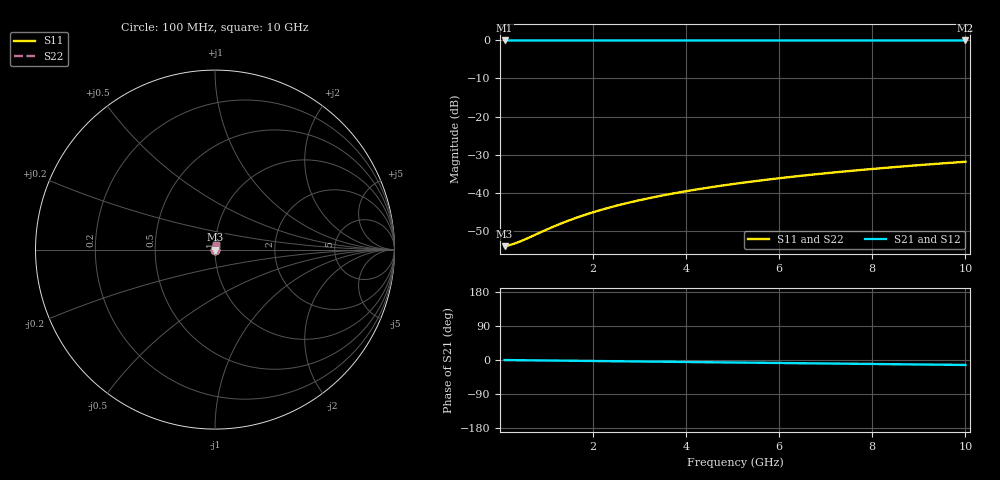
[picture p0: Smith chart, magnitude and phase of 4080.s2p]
# Hz S RI R 50.00
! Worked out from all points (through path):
!   100 points, 100 MHz to 10 GHz, reference 50 ohm
!   highest |S21| = -0.02 dB at 100 MHz (marker M1); lowest = 0.0 dB at 10 GHz (marker M2)
!   group delay of S21, straight-line fit = 3.64 ps
!   lowest |S11| = -54.1 dB at 100 MHz (marker M3), VSWR 1.00, Z = 50.2 + j0.0253 ohm
!   |S11| at or under -10 dB: start of sweep to end of sweep
!   |S22| runs from -54.1 to -31.9 dB; largest |S21 - S12| = 0
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1e8  0.00196 0.000252  0.998 -0.00228  0.998 -0.00228  0.00196 0.000252
2e8  0.00198 0.000504  0.998 -0.00455  0.998 -0.00455  0.00198 0.000504
3e8  0.00199 0.000756  0.998 -0.00683  0.998 -0.00683  0.00199 0.000756
4e8  0.002 0.00101  0.998 -0.0091  0.998 -0.0091  0.002 0.00101
6e8  0.00202 0.00151  0.9979 -0.0137  0.9979 -0.0137  0.00202 0.00151
1e9  0.00207 0.00252  0.9977 -0.0228  0.9977 -0.0228  0.00207 0.00252
1.2e9  0.00211 0.00302  0.9976 -0.0273  0.9976 -0.0273  0.00211 0.00302
1.5e9  0.00216 0.00377  0.9973 -0.0341  0.9973 -0.0341  0.00216 0.00377
1.8e9  0.00222 0.00453  0.9971 -0.041  0.9971 -0.041  0.00222 0.00453
2.1e9  0.0023 0.00528  0.9968 -0.0478  0.9968 -0.0478  0.0023 0.00528
2.5e9  0.00241 0.00628  0.9963 -0.0569  0.9963 -0.0569  0.00241 0.00628
2.9e9  0.00254 0.00728  0.9957 -0.066  0.9957 -0.066  0.00254 0.00728
3.4e9  0.00273 0.00852  0.9948 -0.0773  0.9948 -0.0773  0.00273 0.00852
3.8e9  0.0029 0.00951  0.9941 -0.0864  0.9941 -0.0864  0.0029 0.00951
4.2e9  0.00309 0.0105  0.9932 -0.0955  0.9932 -0.0955  0.00309 0.0105
4.6e9  0.0033 0.0115  0.9923 -0.1046  0.9923 -0.1046  0.0033 0.0115
5.1e9  0.00358 0.0127  0.991 -0.1159  0.991 -0.1159  0.00358 0.0127
5.9e9  0.00409 0.0146  0.9886 -0.134  0.9886 -0.134  0.00409 0.0146
6.7e9  0.00467 0.0166  0.986 -0.1521  0.986 -0.1521  0.00467 0.0166
7.5e9  0.00533 0.0185  0.983 -0.1701  0.983 -0.1701  0.00533 0.0185
8.4e9  0.00614 0.0206  0.9792 -0.1903  0.9792 -0.1903  0.00614 0.0206
1e10  0.00781 0.0242  0.9714 -0.2261  0.9714 -0.2261  0.00781 0.0242
